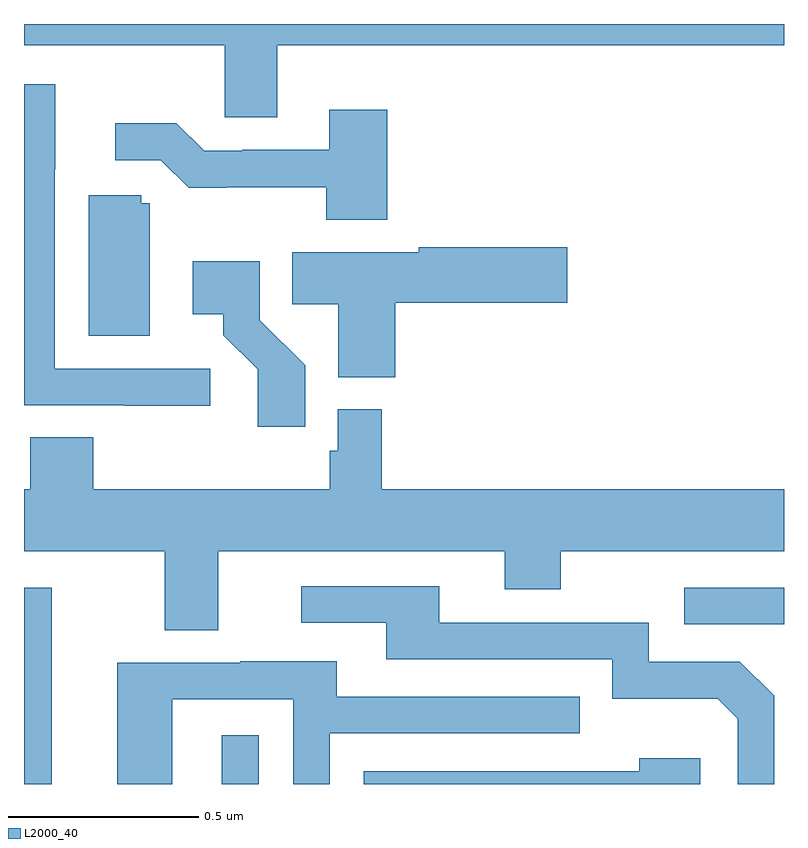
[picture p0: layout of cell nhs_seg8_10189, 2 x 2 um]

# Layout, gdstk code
import gdstk
lib = gdstk.Library(unit=1e-6, precision=1e-09)
def R(c, l, rs):  # rectangles x0, y0, x1, y1
    for r in rs: c.add(gdstk.rectangle(r[:2], r[2:], *l))
def P(c, l, *ps):  # polygons
    for p in ps: c.add(gdstk.Polygon(p, *l))
L2000_40 = (2000, 40)

nhs_seg8_10189 = lib.new_cell('nhs_seg8_10189')
R(nhs_seg8_10189, L2000_40, [(246,1103.9,246.073,1104.417), (246.521,1103.9,246.618,1104.028), (247.737,1104.321,248,1104.417)])
P(nhs_seg8_10189, L2000_40, [(246.667,1105.844),(248,1105.844),(248,1105.9),(246,1105.9),(246,1105.844),(246.528,1105.844),(246.528,1105.654),(246.667,1105.654)],
  [(246.49,1104.993),(246.081,1104.993),(246.081,1105.518),(246.082,1105.518),(246.082,1105.741),(246,1105.741),(246,1104.897),(246.265,1104.897),(246.265,1104.895),(246.49,1104.895)],
  [(246.956,1105.675),(246.803,1105.675),(246.803,1105.569),(246.574,1105.569),(246.574,1105.566),(246.474,1105.566),(246.401,1105.639),(246.24,1105.639),(246.24,1105.542),(246.36,1105.542),(246.433,1105.469),(246.532,1105.469),(246.532,1105.47),(246.796,1105.47),(246.796,1105.385),(246.956,1105.385)],
  [(246.331,1105.428),(246.309,1105.428),(246.309,1105.449),(246.17,1105.449),(246.17,1105.08),(246.331,1105.08)],
  [(246.977,1105.166),(247.429,1105.166),(247.429,1105.313),(247.039,1105.313),(247.039,1105.3),(246.706,1105.3),(246.706,1105.162),(246.827,1105.162),(246.827,1104.971),(246.977,1104.971)],
  [(246.74,1105.002),(246.621,1105.121),(246.621,1105.276),(246.444,1105.276),(246.444,1105.136),(246.524,1105.136),(246.524,1105.081),(246.615,1104.991),(246.615,1104.84),(246.74,1104.84)],
  [(246.511,1104.512),(247.265,1104.512),(247.265,1104.413),(247.413,1104.413),(247.413,1104.512),(248,1104.512),(248,1104.676),(246.941,1104.676),(246.941,1104.886),(246.825,1104.886),(246.825,1104.777),(246.805,1104.777),(246.805,1104.676),(246.182,1104.676),(246.182,1104.812),(246.017,1104.812),(246.017,1104.676),(246,1104.676),(246,1104.512),(246.371,1104.512),(246.371,1104.304),(246.511,1104.304)],
  [(247.974,1104.132),(247.884,1104.222),(247.644,1104.222),(247.644,1104.324),(247.093,1104.324),(247.093,1104.42),(246.729,1104.42),(246.729,1104.324),(246.953,1104.324),(246.953,1104.228),(247.548,1104.228),(247.548,1104.125),(247.825,1104.125),(247.878,1104.072),(247.878,1103.9),(247.974,1103.9)],
  [(246.39,1104.123),(246.708,1104.123),(246.708,1103.9),(246.804,1103.9),(246.804,1104.033),(247.463,1104.033),(247.463,1104.129),(246.823,1104.129),(246.823,1104.223),(246.569,1104.223),(246.569,1104.219),(246.245,1104.219),(246.245,1103.9),(246.39,1103.9)],
  [(247.78,1103.968),(247.619,1103.968),(247.619,1103.934),(246.894,1103.934),(246.894,1103.9),(247.78,1103.9)])

lib.write_gds('nhs_seg8_10189.gds')
